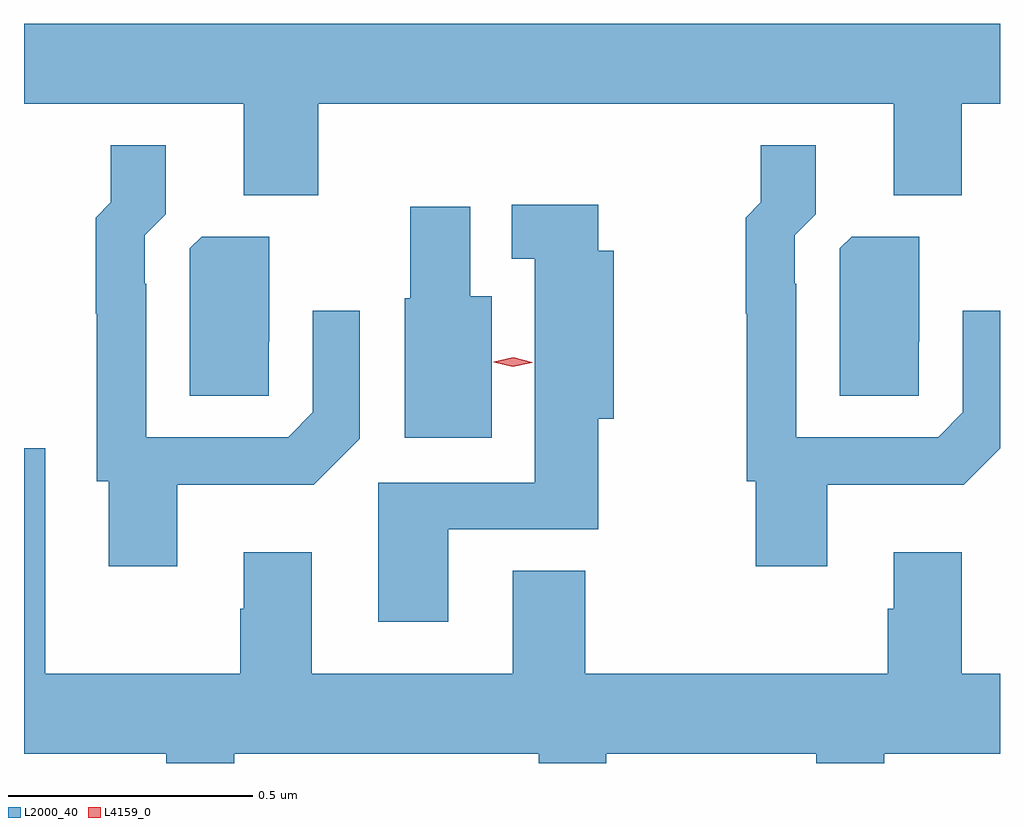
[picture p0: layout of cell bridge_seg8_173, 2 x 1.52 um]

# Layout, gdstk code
import gdstk
lib = gdstk.Library(unit=1e-6, precision=1e-09)
def P(c, l, *ps):  # polygons
    for p in ps: c.add(gdstk.Polygon(p, *l))
L2000_40 = (2000, 40)
L4159_0 = (4159, 0)

bridge_seg8_173 = lib.new_cell('bridge_seg8_173')
P(bridge_seg8_173, L2000_40, [(579.392,1088.528),(580.571,1088.528),(580.571,1088.341),(580.711,1088.341),(580.711,1088.528),(580.789,1088.528),(580.789,1088.692),(578.789,1088.692),(578.789,1088.528),(579.239,1088.528),(579.239,1088.341),(579.392,1088.341)],
  [(579.103,1087.748),(579.383,1087.748),(579.477,1087.842),(579.477,1088.104),(579.381,1088.104),(579.381,1087.896),(579.33,1087.845),(579.039,1087.845),(579.039,1088.159),(579.036,1088.159),(579.036,1088.259),(579.079,1088.302),(579.079,1088.443),(578.967,1088.443),(578.967,1088.326),(578.936,1088.295),(578.936,1088.098),(578.938,1088.098),(578.938,1087.755),(578.963,1087.755),(578.963,1087.581),(579.103,1087.581)],
  [(580.435,1087.748),(580.715,1087.748),(580.789,1087.822),(580.789,1088.104),(580.713,1088.104),(580.713,1087.896),(580.662,1087.845),(580.371,1087.845),(580.371,1088.159),(580.368,1088.159),(580.368,1088.259),(580.411,1088.302),(580.411,1088.443),(580.299,1088.443),(580.299,1088.326),(580.268,1088.295),(580.268,1088.098),(580.27,1088.098),(580.27,1087.755),(580.288,1087.755),(580.288,1087.581),(580.435,1087.581)],
  [(579.658,1087.656),(579.966,1087.656),(579.966,1087.883),(579.997,1087.883),(579.997,1088.227),(579.966,1088.227),(579.966,1088.321),(579.788,1088.321),(579.788,1088.211),(579.836,1088.211),(579.836,1087.752),(579.515,1087.752),(579.515,1087.467),(579.658,1087.467)],
  [(579.748,1088.134),(579.703,1088.134),(579.703,1088.317),(579.581,1088.317),(579.581,1088.13),(579.569,1088.13),(579.569,1087.844),(579.748,1087.844)],
  [(580.623,1088.041),(580.624,1088.041),(580.624,1088.256),(580.485,1088.256),(580.461,1088.232),(580.461,1087.93),(580.623,1087.93)],
  [(579.291,1088.041),(579.292,1088.041),(579.292,1088.256),(579.153,1088.256),(579.129,1088.232),(579.129,1087.93),(579.291,1087.93)],
  [(579.22,1087.196),(579.844,1087.196),(579.844,1087.177),(579.982,1087.177),(579.982,1087.196),(580.412,1087.196),(580.412,1087.177),(580.552,1087.177),(580.552,1087.196),(580.789,1087.196),(580.789,1087.36),(580.711,1087.36),(580.711,1087.609),(580.571,1087.609),(580.571,1087.493),(580.559,1087.493),(580.559,1087.36),(579.939,1087.36),(579.939,1087.571),(579.791,1087.571),(579.791,1087.36),(579.379,1087.36),(579.379,1087.609),(579.239,1087.609),(579.239,1087.493),(579.232,1087.493),(579.232,1087.36),(578.833,1087.36),(578.833,1087.822),(578.789,1087.822),(578.789,1087.196),(579.08,1087.196),(579.08,1087.177),(579.22,1087.177)])
P(bridge_seg8_173, L4159_0, [(579.791,1087.989),(579.752,1087.999),(579.752,1088),(579.752,1088),(579.792,1088.009),(579.831,1087.999),(579.831,1087.998),(579.831,1087.998)])

lib.write_gds('bridge_seg8_173.gds')
